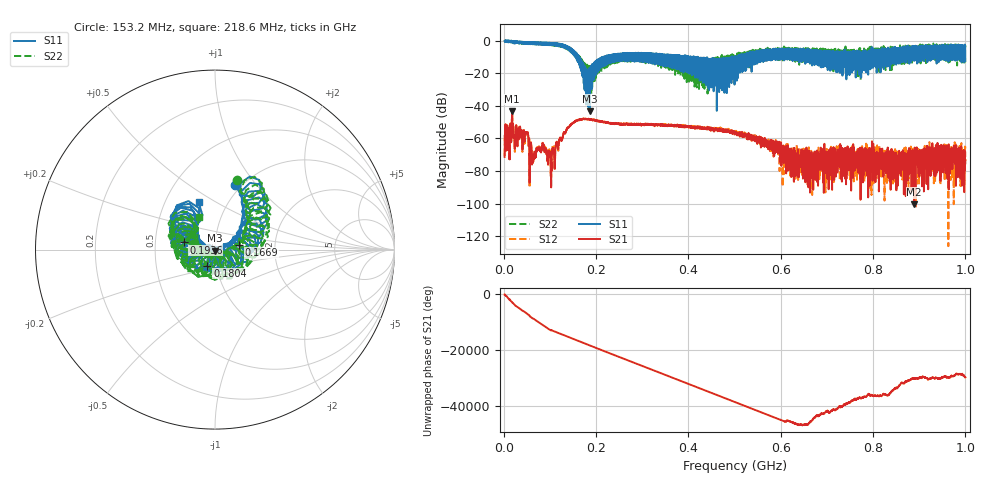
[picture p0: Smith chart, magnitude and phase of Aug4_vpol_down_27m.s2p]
!Keysight Technologies N9923A: A.12.45
!Date: Tuesday, 05 August 2025 20:51:24
!Timezone: (UTC+08:00) Kuala Lumpur, Singapore
!Model: N9923A
!Serial: MY61181427
!GPS Latitude:
!GPS Longitude:
!GPS TimeStamp: 0001-01-01 00:00:00Z
!GPS Seconds Since Last Read: 0
!CHECKSUM:1046457709
!Correction: S11(ON U)S21(ON U)S12(ON U)S22(ON U)
!S2P File: Measurements:S11,S21,S12,S22:
# Hz S DB R 50
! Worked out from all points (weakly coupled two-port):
!   4001 points, 2 MHz to 1 GHz, reference 50 ohm
!   highest |S21| = -43.21 dB at 18.22 MHz (marker M1); lowest = -100.4 dB at 889 MHz (marker M2)
!   lowest |S11| = -43.4 dB at 186.4 MHz (marker M3), VSWR 1.01, Z = 49.8 - j0.648 ohm
!   |S11| at or under -10 dB: 162.9 MHz to 215.5 MHz (52.66 MHz wide, 27.8 % of centre); 412.3 MHz to 417.2 MHz (4.914 MHz wide, 1.18 % of centre); 420.7 MHz to 494 MHz (73.31 MHz wide, 16 % of centre)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
!   |S22| runs from -33.9 to 0.1 dB; largest |S21 - S12| = 0.0011
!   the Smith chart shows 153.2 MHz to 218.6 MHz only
!   S11 on the Smith chart (normalised r, x): 153.2 MHz: 0.93, +0.78; 166.9 MHz: 1.30, +0.07; 180.4 MHz: 0.91, -0.16; 193.6 MHz: 0.70, +0.06; 218.6 MHz: 0.73, +0.42
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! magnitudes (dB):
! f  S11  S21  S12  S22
! 2 MHz  -0.1  -71.4  -70.8  -0.1
! 18.22 MHz  -0.4  -43.2  -42.3  -0.7
! 50.4 MHz  -0.9  -56.6  -56.6  -1.0
! 60.88 MHz  -1.6  -70.2  -67.2  -1.5
! 87.33 MHz  -1.2  -65.7  -64.7  -1.2
! 99.06 MHz  -1.2  -67.7  -66.7  -1.4
! 153.2 MHz  -8.5  -49.8  -49.7  -7.9
! 166.9 MHz  -17.4  -48.5  -48.2  -16.0
! 168.4 MHz  -18.8  -48.4  -48.4  -16.7
! 180.4 MHz  -20.1  -48.3  -48.2  -19.4
! 186.4 MHz  -43.4  -48.4  -48.4  -21.3
! 193.6 MHz  -14.9  -48.5  -48.4  -18.4
! 218.6 MHz  -11.1  -50.0  -49.9  -13.9
! 334.8 MHz  -8.1  -51.6  -51.7  -10.2
! 445.1 MHz  -17.3  -54.6  -53.5  -22.2
! 501 MHz  -9.7  -56.5  -55.7  -9.0
! 592.8 MHz  -7.1  -63.5  -62.9  -10.7
! 634.5 MHz  -11.5  -69.5  -68.2  -6.9
! 667.4 MHz  -6.2  -73.5  -70.8  -6.6
! 833.8 MHz  -6.2  -73.7  -71.8  -13.7
! 889 MHz  -9.9  -100.4  -92.8  -6.0
! 1 GHz  -12.5  -73.2  -65.0  -4.0
